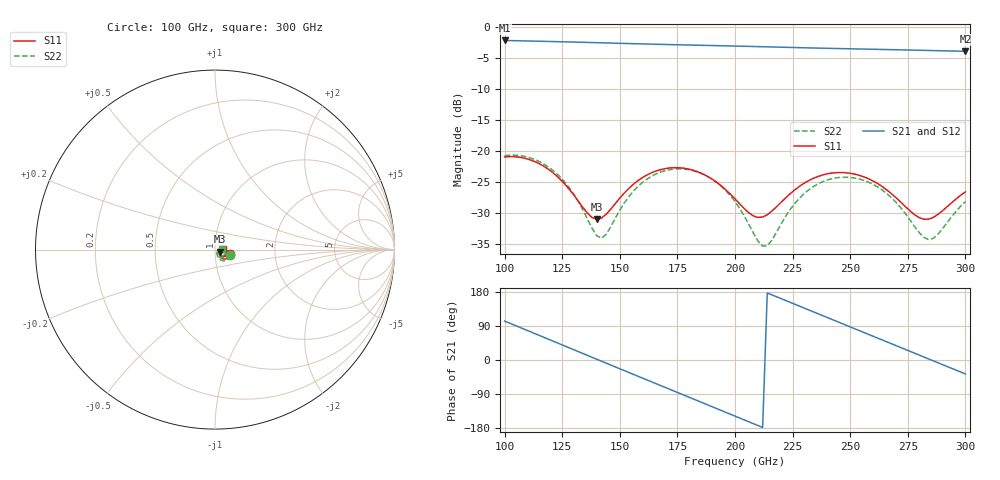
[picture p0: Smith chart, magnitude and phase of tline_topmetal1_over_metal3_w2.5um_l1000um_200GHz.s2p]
#  GHZ S DB R 50
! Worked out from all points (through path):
!   101 points, 100 GHz to 300 GHz, reference 50 ohm
!   highest |S21| = -2.14 dB at 100 GHz (marker M1); lowest = -3.9 dB at 300 GHz (marker M2)
!   group delay of S21, straight-line fit = 6.94 ps
!   lowest |S11| = -31.1 dB at 140 GHz (marker M3), VSWR 1.06, Z = 52.6 - j1.23 ohm
!   |S11| at or under -10 dB: start of sweep to end of sweep
!   |S22| runs from -35.4 to -20.7 dB; largest |S21 - S12| = 8.9e-14
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100  -20.98 -16.8  -2.14 102.7  -2.14 102.7  -20.78 -20.6
108  -21.12 -30.5  -2.21 82.6  -2.21 82.6  -20.83 -35.8
116  -22.26 -43.2  -2.27 62.5  -2.27 62.5  -21.90 -50.5
126  -25.31 -53.6  -2.36 37.3  -2.36 37.3  -24.98 -65.6
134  -29.15 -47.7  -2.44 17.1  -2.44 17.1  -29.56 -67.1
140  -31.06 -24.6  -2.50 2.0  -2.50 2.0  -33.72 -43.6
144  -30.27 -7.4  -2.54 -8.1  -2.54 -8.1  -33.52 -14.0
152  -26.79 4.8  -2.62 -28.1  -2.62 -28.1  -28.38 6.6
160  -24.27 -0.1  -2.70 -48.1  -2.70 -48.1  -25.04 0.3
168  -22.99 -10.5  -2.77 -68.1  -2.77 -68.1  -23.38 -12.2
176  -22.72 -22.5  -2.84 -88.1  -2.84 -88.1  -22.89 -26.5
184  -23.40 -34.1  -2.91 -108.1  -2.91 -108.1  -23.43 -41.0
200  -27.76 -44.6  -3.04 -148.1  -3.04 -148.1  -28.19 -62.8
210  -30.75 -22.2  -3.13 -173.1  -3.13 -173.1  -34.60 -44.9
214  -30.31 -8.7  -3.17 176.9  -3.17 176.9  -35.32 -17.1
226  -26.27 3.4  -3.28 147.1  -3.28 147.1  -28.47 10.5
234  -24.43 -3.3  -3.36 127.2  -3.36 127.2  -25.77 1.8
250  -23.61 -24.9  -3.49 87.4  -3.49 87.4  -24.28 -24.5
258  -24.51 -35.3  -3.55 67.5  -3.55 67.5  -25.06 -37.6
268  -26.94 -43.0  -3.63 42.7  -3.63 42.7  -27.60 -50.0
284  -31.03 -16.0  -3.76 2.9  -3.76 2.9  -34.33 -22.2
300  -26.62 2.0  -3.89 -36.8  -3.89 -36.8  -28.19 8.5
